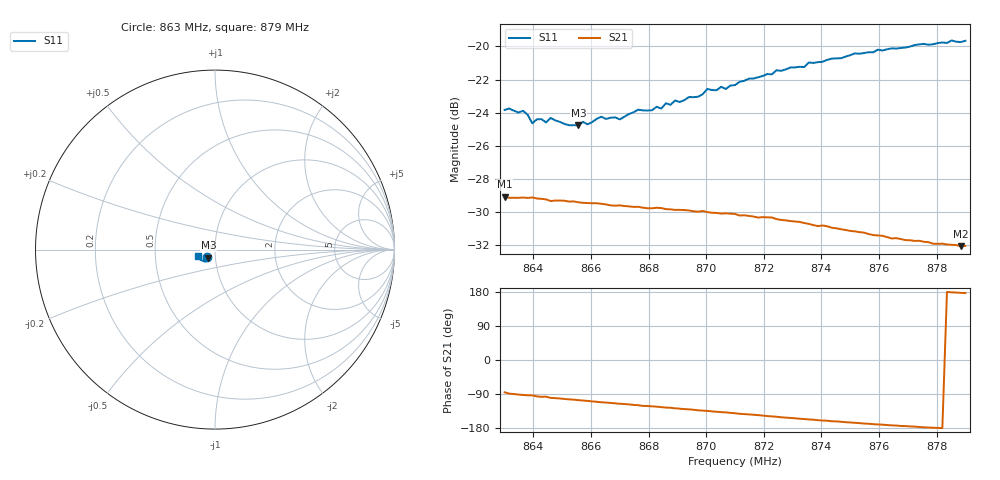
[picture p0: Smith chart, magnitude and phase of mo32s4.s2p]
# HZ S RI R 50
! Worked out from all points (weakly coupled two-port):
!   101 points, 863 MHz to 879 MHz, reference 50 ohm
!   highest |S21| = -29.05 dB at 863 MHz (marker M1); lowest = -32.0 dB at 878.84 MHz (marker M2)
!   lowest |S11| = -24.8 dB at 865.56 MHz (marker M3), VSWR 1.12, Z = 46.3 - j4.17 ohm
!   |S11| at or under -10 dB: start of sweep to end of sweep
!   S12 and S22 are empty: the file has one direction only
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8.63e8  -0.0469 -0.044  0.00291 -0.0351  0 0  0 0
8.6364e8  -0.0458 -0.0446  -0.00143 -0.035  0 0  0 0
8.6396e8  -0.0406 -0.0423  -0.00209 -0.035  0 0  0 0
8.6428e8  -0.0409 -0.0444  -0.00432 -0.0344  0 0  0 0
8.6444e8  -0.0401 -0.0432  -0.00406 -0.0343  0 0  0 0
8.646e8  -0.0414 -0.0446  -0.00597 -0.0336  0 0  0 0
8.6556e8  -0.0364 -0.0449  -0.00934 -0.0326  0 0  0 0
8.6572e8  -0.0361 -0.0469  -0.00985 -0.0323  0 0  0 0
8.6588e8  -0.0362 -0.0456  -0.0104 -0.0321  0 0  0 0
8.6636e8  -0.0375 -0.0485  -0.0123 -0.0312  0 0  0 0
8.67e8  -0.0347 -0.0493  -0.0143 -0.0299  0 0  0 0
8.6764e8  -0.0368 -0.0529  -0.0161 -0.0286  0 0  0 0
8.6844e8  -0.0353 -0.0545  -0.0184 -0.0269  0 0  0 0
8.686e8  -0.0359 -0.057  -0.0187 -0.0263  0 0  0 0
8.6972e8  -0.0377 -0.0596  -0.0216 -0.0233  0 0  0 0
8.7004e8  -0.0406 -0.0624  -0.0221 -0.0226  0 0  0 0
8.71e8  -0.0434 -0.0629  -0.0241 -0.0199  0 0  0 0
8.7244e8  -0.0539 -0.0653  -0.026 -0.0152  0 0  0 0
8.7372e8  -0.0606 -0.0653  -0.0267 -0.0111  0 0  0 0
8.7644e8  -0.0817 -0.0551  -0.0261 -0.00344  0 0  0 0
8.7884e8  -0.0961 -0.0372  -0.025 0.00125  0 0  0 0
8.79e8  -0.0973 -0.0365  -0.025 0.00149  0 0  0 0
